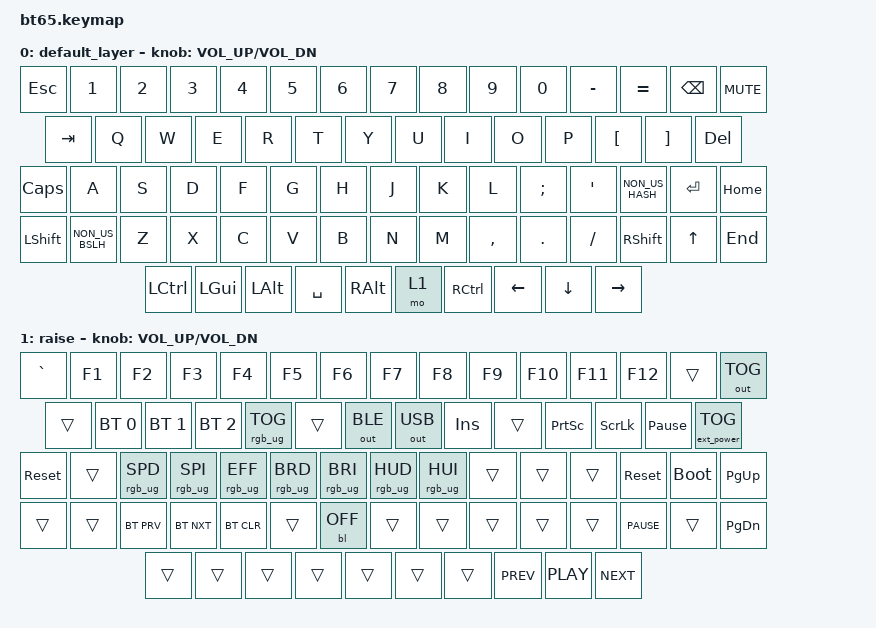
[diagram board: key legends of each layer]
#include <behaviors.dtsi>
#include <dt-bindings/zmk/keys.h>
#include <dt-bindings/zmk/bt.h>
#include <dt-bindings/zmk/rgb.h>
#include <dt-bindings/zmk/backlight.h>
#include <dt-bindings/zmk/ext_power.h>
#include <dt-bindings/zmk/outputs.h>


/ {
	keymap {
		compatible = "zmk,keymap";

		default_layer {
				// ------------------------------------------------------------------------------------------------------------
				// |  `  |  1  |  2  |  3  |  4  |  5  |  6  |  7  |  8  |  9  |  0  |  -  |  =  |BKSP | MUTE		|
				// | TAB  |  Q  |  W  |  E  |  R  |  T  |  Y  |  U  |  I  |  O  |  P  |  [  |  ]  |   \    | DEL		|
				// | CAPS  |  A  |  S  |  D  |  F  |  G  |  H  |  J  |  K  |  L  |  ;  |  '  |     ENTER    |PGUP	|
				// |  SHIFT  |  Z  |  X  |  C  |  V  |  B  |  N  |  M  |  ,  |  .  | /   |   SHIFT  | UP   | PGDN|
				// |  CTL  |  WIN  |  ALT  |            SPACE               | ALT | 1    |  MENU| LEFT |  DOWN    | RIGHT	|
				// ------------------------------------------------------------------------------------------------------------
			bindings = <

				&kp ESC &kp N1 &kp N2 &kp N3 &kp N4 &kp N5 &kp N6 &kp N7 &kp  N8   &kp  N9   &kp N0 &kp MINUS &kp EQUAL &kp BSPC &kp C_MUTE
				&kp TAB  &kp Q  &kp W  &kp E  &kp R  &kp T  &kp Y  &kp U  &kp  I    &kp  O  &kp  P   &kp LBKT &kp RBKT  	 &kp DEL
				&kp CLCK  &kp A  &kp S  &kp D  &kp F  &kp G  &kp H  &kp J  &kp  K    &kp  L  &kp SEMI &kp SQT &kp NON_US_HASH 	&kp RET &kp HOME
				&kp LSHFT &kp NON_US_BSLH &kp Z  &kp X  &kp C  &kp V  &kp B  &kp N  &kp M  &kp COMMA &kp DOT &kp FSLH   &kp RSHFT &kp UP &kp END
				&kp LCTRL &kp LGUI &kp LALT            &kp SPACE                          &kp RALT  &mo 1 &kp RCTRL &kp LEFT &kp DOWN &kp RIGHT
			>;
			sensor-bindings = <&inc_dec_kp C_VOL_UP C_VOL_DN>;
		};
		raise {
			bindings = <
				&kp GRAVE &kp F1 &kp F2 &kp F3 &kp F4 &kp F5 &kp F6 &kp F7 &kp  F8   &kp  F9   &kp F10  &kp F11 &kp F12 &trans &out OUT_TOG
				&trans &bt BT_SEL 0 &bt BT_SEL 1 &bt BT_SEL 2 &rgb_ug RGB_TOG &trans &out OUT_BLE &out OUT_USB &kp INS &trans &kp PSCRN &kp SLCK &kp PAUSE_BREAK  &ext_power EP_TOG
				&sys_reset &trans &rgb_ug RGB_SPD &rgb_ug RGB_SPI &rgb_ug RGB_EFF &rgb_ug RGB_BRD &rgb_ug RGB_BRI &rgb_ug RGB_HUD &rgb_ug RGB_HUI &trans &trans  &trans &sys_reset  &bootloader &kp PG_UP
				&trans &trans &bt BT_PRV &bt BT_NXT &bt BT_CLR &trans &bl BL_OFF &trans &trans &trans &trans &trans  &kp C_PAUSE &trans &kp PG_DN
				&trans &trans  &trans              &trans                            &trans   &trans   &trans &kp C_PREV &kp C_PLAY &kp C_NEXT
			>;
			sensor-bindings = <&inc_dec_kp C_VOL_UP C_VOL_DN>;
		};
	};
};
